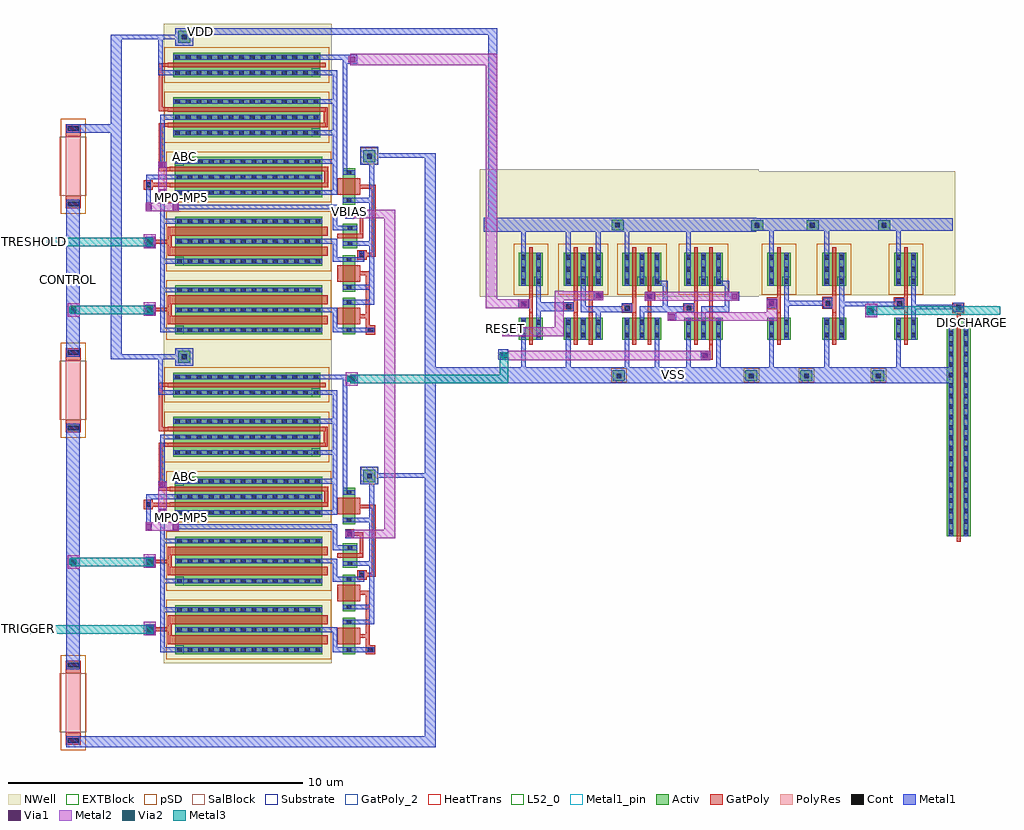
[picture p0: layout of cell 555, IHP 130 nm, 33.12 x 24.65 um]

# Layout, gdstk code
from math import pi, radians
import gdstk
lib = gdstk.Library(unit=1e-6, precision=1e-09)
def R(c, l, rs):  # rectangles x0, y0, x1, y1
    for r in rs: c.add(gdstk.rectangle(r[:2], r[2:], *l))
def A(c, l, x, y, w, h, nx, ny, dx, dy):  # array of equal rectangles
    R(c, l, [(x+i*dx, y+j*dy, x+i*dx+w, y+j*dy+h) for i in range(nx) for j in range(ny)])
def P(c, l, *ps):  # polygons
    for p in ps: c.add(gdstk.Polygon(p, *l))
Activ = (1, 0)
GatPoly = (5, 0)
GatPoly_2 = (5, 2)
Cont = (6, 0)
Metal1 = (8, 0)
Metal1_pin = (8, 2)
Metal2 = (10, 0)
pSD = (14, 0)
Via1 = (19, 0)
SalBlock = (28, 0)
Via2 = (29, 0)
Metal3 = (30, 0)
NWell = (31, 0)
Substrate = (40, 0)
HeatTrans = (51, 0)
L52_0 = (52, 0)
EXTBlock = (111, 0)
PolyRes = (128, 0)

nmos = lib.new_cell('nmos')
R(nmos, Activ, [(0,0,0.3,0.3), (0,0,0.81,0.74), (0.51,0,0.81,0.3)])
R(nmos, GatPoly, [(0.34,-0.18,0.47,0.92)])
R(nmos, GatPoly_2, [(0.34,-0.18,0.47,0.92)])
R(nmos, Cont, [(0.07,0.07,0.23,0.23), (0.58,0.07,0.74,0.23), (0.07,0.51,0.23,0.67), (0.58,0.51,0.74,0.67)])
R(nmos, Metal1, [(0.07,0,0.23,0.74), (0.58,0,0.74,0.74)])
R(nmos, Metal1_pin, [(0.07,0,0.23,0.74), (0.58,0,0.74,0.74)])
R(nmos, HeatTrans, [(0.34,-0.18,0.47,0.92)])
nmos.add(gdstk.Label('nmos', (0.405,0.37), layer=63, texttype=0))
nmos.add(gdstk.Label('nmos', (0.405,0.37), layer=51, texttype=0))

pmos = lib.new_cell('pmos')
R(pmos, Activ, [(0,0,0.3,0.3), (0,0,0.81,1.12), (0.51,0,0.81,0.3)])
R(pmos, GatPoly, [(0.34,-0.18,0.47,1.3), (0.34,-0.18,0.47,1.3)])
A(pmos, Cont, 0.07, 0.07, 0.16, 0.16, 1, 3, 0, 0.41)
A(pmos, Cont, 0.58, 0.07, 0.16, 0.16, 1, 3, 0, 0.41)
R(pmos, Metal1, [(0.07,0,0.23,1.12), (0.07,0,0.23,1.12), (0.58,0,0.74,1.12), (0.58,0,0.74,1.12)])
R(pmos, pSD, [(-0.18,-0.3,0.99,1.42)])
R(pmos, NWell, [(-0.31,-0.31,1.12,1.43)])
R(pmos, Substrate, [(0.51,0,0.81,0.3)])
R(pmos, HeatTrans, [(0.34,-0.18,0.47,1.3)])
pmos.add(gdstk.Label('pmos', (0.405,0.56), layer=63, texttype=0))
pmos.add(gdstk.Label('pmos', (0.405,0.56), layer=51, texttype=0))

via_stack = lib.new_cell('via_stack')
R(via_stack, Metal1, [(-0.145,-0.105,0.145,0.105)])
R(via_stack, Metal2, [(-0.145,-0.1,0.145,0.1)])
R(via_stack, Via1, [(-0.095,-0.095,0.095,0.095)])

pmos_1 = lib.new_cell('pmos$1')
R(pmos_1, Activ, [(0,0,0.3,0.3), (0,0,0.83,5), (0.53,0,0.83,0.3)])
R(pmos_1, GatPoly, [(0.34,-0.18,0.49,5.18), (0.34,-0.18,0.49,5.18)])
A(pmos_1, Cont, 0.07, 0.07, 0.16, 0.16, 1, 4, 0, 0.36)
A(pmos_1, Cont, 0.6, 0.07, 0.16, 0.16, 1, 4, 0, 0.36)
A(pmos_1, Cont, 0.07, 1.515, 0.16, 0.16, 1, 3, 0, 0.36)
A(pmos_1, Cont, 0.6, 1.515, 0.16, 0.16, 1, 3, 0, 0.36)
A(pmos_1, Cont, 0.07, 2.6, 0.16, 0.16, 1, 3, 0, 0.36)
A(pmos_1, Cont, 0.6, 2.6, 0.16, 0.16, 1, 3, 0, 0.36)
A(pmos_1, Cont, 0.07, 3.685, 0.16, 0.16, 1, 3, 0, 0.36)
A(pmos_1, Cont, 0.6, 3.685, 0.16, 0.16, 1, 3, 0, 0.36)
R(pmos_1, Cont, [(0.07,4.77,0.23,4.93), (0.6,4.77,0.76,4.93)])
R(pmos_1, Metal1, [(0.07,0,0.23,5), (0.07,0,0.23,5), (0.6,0,0.76,5), (0.6,0,0.76,5)])
R(pmos_1, pSD, [(-0.18,-0.3,1.01,5.3)])
R(pmos_1, NWell, [(-0.31,-0.31,1.14,5.31)])
R(pmos_1, Substrate, [(0.53,0,0.83,0.3)])
R(pmos_1, HeatTrans, [(0.34,-0.18,0.49,5.18)])
pmos_1.add(gdstk.Label('pmos', (0.415,2.5), layer=63, texttype=0))
pmos_1.add(gdstk.Label('pmos', (0.415,2.5), layer=51, texttype=0))

pmos_2 = lib.new_cell('pmos$2')
A(pmos_2, Activ, 0, 0, 0.3, 0.3, 3, 1, 0.53, 0)
R(pmos_2, Activ, [(0,0,1.36,5)])
R(pmos_2, GatPoly, [(0.34,-0.18,0.49,5.18), (0.34,-0.18,0.49,5.18), (0.87,-0.18,1.02,5.18)])
A(pmos_2, Cont, 0.07, 0.07, 0.16, 0.16, 3, 4, 0.53, 0.36)
A(pmos_2, Cont, 0.07, 1.515, 0.16, 0.16, 3, 3, 0.53, 0.36)
A(pmos_2, Cont, 0.07, 2.6, 0.16, 0.16, 3, 3, 0.53, 0.36)
A(pmos_2, Cont, 0.07, 3.685, 0.16, 0.16, 3, 3, 0.53, 0.36)
A(pmos_2, Cont, 0.07, 4.77, 0.16, 0.16, 3, 1, 0.53, 0)
R(pmos_2, Metal1, [(0.07,0,0.23,5), (0.07,0,0.23,5), (0.6,0,0.76,5), (0.6,0,0.76,5), (1.13,0,1.29,5)])
R(pmos_2, pSD, [(-0.18,-0.3,1.54,5.3)])
R(pmos_2, NWell, [(-0.31,-0.31,1.67,5.31)])
R(pmos_2, Substrate, [(1.06,0,1.36,0.3)])
R(pmos_2, HeatTrans, [(0.34,-0.18,0.49,5.18), (0.87,-0.18,1.02,5.18)])
pmos_2.add(gdstk.Label('pmos', (0.415,2.5), layer=63, texttype=0))
pmos_2.add(gdstk.Label('pmos', (0.415,2.5), layer=51, texttype=0))
pmos_2.add(gdstk.Label('pmos', (0.945,2.5), layer=51, texttype=0))

pmos_3 = lib.new_cell('pmos$3')
A(pmos_3, Activ, 0, 0, 0.3, 0.3, 3, 1, 0.68, 0)
R(pmos_3, Activ, [(0,0,1.66,5)])
R(pmos_3, GatPoly, [(0.34,-0.18,0.64,5.18), (0.34,-0.18,0.64,5.18), (1.02,-0.18,1.32,5.18)])
A(pmos_3, Cont, 0.07, 0.07, 0.16, 0.16, 3, 4, 0.68, 0.36)
A(pmos_3, Cont, 0.07, 1.515, 0.16, 0.16, 3, 3, 0.68, 0.36)
A(pmos_3, Cont, 0.07, 2.6, 0.16, 0.16, 3, 3, 0.68, 0.36)
A(pmos_3, Cont, 0.07, 3.685, 0.16, 0.16, 3, 3, 0.68, 0.36)
A(pmos_3, Cont, 0.07, 4.77, 0.16, 0.16, 3, 1, 0.68, 0)
R(pmos_3, Metal1, [(0.07,0,0.23,5), (0.07,0,0.23,5), (0.75,0,0.91,5), (0.75,0,0.91,5), (1.43,0,1.59,5)])
R(pmos_3, pSD, [(-0.18,-0.3,1.84,5.3)])
R(pmos_3, NWell, [(-0.31,-0.31,1.97,5.31)])
R(pmos_3, Substrate, [(1.36,0,1.66,0.3)])
R(pmos_3, HeatTrans, [(0.34,-0.18,0.64,5.18), (1.02,-0.18,1.32,5.18)])
pmos_3.add(gdstk.Label('pmos', (0.49,2.5), layer=63, texttype=0))
pmos_3.add(gdstk.Label('pmos', (0.49,2.5), layer=51, texttype=0))
pmos_3.add(gdstk.Label('pmos', (1.17,2.5), layer=51, texttype=0))

nmos_1 = lib.new_cell('nmos$1')
R(nmos_1, Activ, [(0,0,0.3,0.3), (0,0,1.24,0.42), (0.94,0,1.24,0.3)])
R(nmos_1, GatPoly, [(0.34,-0.18,0.9,0.6)])
R(nmos_1, GatPoly_2, [(0.34,-0.18,0.9,0.6)])
R(nmos_1, Cont, [(0.07,0.13,0.23,0.29), (1.01,0.13,1.17,0.29)])
R(nmos_1, Metal1, [(0.07,0,0.23,0.42), (1.01,0,1.17,0.42)])
R(nmos_1, Metal1_pin, [(0.07,0,0.23,0.42), (1.01,0,1.17,0.42)])
R(nmos_1, HeatTrans, [(0.34,-0.18,0.9,0.6)])
nmos_1.add(gdstk.Label('nmos', (0.62,0.21), layer=63, texttype=0))
nmos_1.add(gdstk.Label('nmos', (0.62,0.21), layer=51, texttype=0))

nmos_2 = lib.new_cell('nmos$2')
R(nmos_2, Activ, [(0,0,0.3,0.3), (0,0,0.83,0.5), (0.53,0,0.83,0.3)])
R(nmos_2, GatPoly, [(0.34,-0.18,0.49,0.68)])
R(nmos_2, GatPoly_2, [(0.34,-0.18,0.49,0.68)])
R(nmos_2, Cont, [(0.07,0.17,0.23,0.33), (0.6,0.17,0.76,0.33)])
R(nmos_2, Metal1, [(0.07,0,0.23,0.5), (0.6,0,0.76,0.5)])
R(nmos_2, Metal1_pin, [(0.07,0,0.23,0.5), (0.6,0,0.76,0.5)])
R(nmos_2, HeatTrans, [(0.34,-0.18,0.49,0.68)])
nmos_2.add(gdstk.Label('nmos', (0.415,0.25), layer=63, texttype=0))
nmos_2.add(gdstk.Label('nmos', (0.415,0.25), layer=51, texttype=0))

via_stack_1 = lib.new_cell('via_stack$1')
R(via_stack_1, Metal1, [(-0.145,-0.105,0.145,0.105)])
R(via_stack_1, Metal2, [(-0.145,-0.1,0.145,0.1)])
R(via_stack_1, Via1, [(-0.095,-0.095,0.095,0.095)])
R(via_stack_1, Via2, [(-0.095,-0.095,0.095,0.095)])
R(via_stack_1, Metal3, [(-0.145,-0.1,0.145,0.1)])

via_stack_2 = lib.new_cell('via_stack$2')
R(via_stack_2, Metal2, [(-0.145,-0.1,0.145,0.1)])
R(via_stack_2, Via2, [(-0.095,-0.095,0.095,0.095)])
R(via_stack_2, Metal3, [(-0.145,-0.1,0.145,0.1)])

nmos_3 = lib.new_cell('nmos$3')
R(nmos_3, Activ, [(0,0,0.3,0.3), (0,0,0.81,7.4), (0.51,0,0.81,0.3)])
R(nmos_3, GatPoly, [(0.34,-0.18,0.47,7.58)])
R(nmos_3, GatPoly_2, [(0.34,-0.18,0.47,7.58)])
A(nmos_3, Cont, 0.07, 0.07, 0.16, 0.16, 1, 21, 0, 0.355)
A(nmos_3, Cont, 0.58, 0.07, 0.16, 0.16, 1, 21, 0, 0.355)
R(nmos_3, Metal1, [(0.07,0,0.23,7.4), (0.58,0,0.74,7.4)])
R(nmos_3, Metal1_pin, [(0.07,0,0.23,7.4), (0.58,0,0.74,7.4)])
R(nmos_3, HeatTrans, [(0.34,-0.18,0.47,7.58)])
nmos_3.add(gdstk.Label('nmos', (0.405,3.7), layer=63, texttype=0))
nmos_3.add(gdstk.Label('nmos', (0.405,3.7), layer=51, texttype=0))

rppd = lib.new_cell('rppd')
R(rppd, GatPoly, [(0,-0.43,0.5,-0.2), (0,-0.2,0.5,0), (0,2,0.5,2.2), (0,2.2,0.5,2.43)])
R(rppd, Cont, [(0.07,-0.36,0.43,-0.2), (0.07,2.2,0.43,2.36)])
R(rppd, Metal1, [(0.02,-0.43,0.48,-0.13), (0.02,2.13,0.48,2.43)])
R(rppd, Metal1_pin, [(0.02,-0.43,0.48,-0.13), (0.02,2.13,0.48,2.43)])
R(rppd, pSD, [(-0.18,-0.61,0.68,0), (-0.18,0,0.68,2), (-0.18,2,0.68,2.61)])
R(rppd, SalBlock, [(-0.2,0,0.7,2)])
R(rppd, L52_0, [(0,0,0.5,2)])
R(rppd, EXTBlock, [(-0.18,-0.61,0.68,0), (-0.2,0,0.7,2), (-0.18,2,0.68,2.61)])
R(rppd, PolyRes, [(0,0,0.5,2)])
rppd.add(gdstk.Label('rppd r=1167.668', (0.25,1), layer=63, texttype=0))
rppd.add(gdstk.Label('rppd', (0.25,1), layer=52, texttype=0))

c_555 = lib.new_cell('555')
R(c_555, Activ, [(-34.95,-3.345,-34.54,-2.935), (-26.49,0.085,-26.08,0.45), (-22,0.085,-21.59,0.45), (-20.125,0.085,-19.715,0.45), (-17.69,0.085,-17.28,0.45), (-41.23,0.705,-40.82,1.115), (-21.79,5.175,-21.38,5.54), (-19.915,5.175,-19.505,5.54), (-17.48,5.175,-17.07,5.54), (-26.52,5.19,-26.11,5.555), (-34.95,7.505,-34.54,7.915), (-41.23,11.555,-40.82,11.965)])
R(c_555, GatPoly, [(-42.34,-8.52,-42.015,-8.175), (-42.015,-8.4,-42,-8.27), (-42.34,-6.23,-42.015,-5.885), (-42.015,-6.11,-42,-5.98), (-42.41,-4.27,-42.09,-3.95), (-36.275,-4.185,-36.145,-3.505), (-27.81,2.305,-27.68,3.21), (-42.345,2.325,-42.02,2.67), (-29.33,2.38,-29.2,3.285), (-27.3,2.38,-27.17,3.285), (-25.82,2.38,-25.69,3.285), (-25.82,2.38,-25.69,3.285), (-25.31,2.38,-25.18,3.285), (-25.31,2.38,-25.18,3.285), (-23.73,2.38,-23.6,3.285), (-23.73,2.38,-23.6,3.285), (-20.915,2.38,-20.785,3.285), (-19.04,2.38,-18.91,3.285), (-16.605,2.38,-16.475,3.285), (-14.965,2.39,-14.56,2.735), (-26.18,2.405,-25.82,2.71), (-26.18,2.405,-25.82,2.71), (-24.09,2.415,-23.73,2.72), (-24.09,2.415,-23.73,2.72), (-24.085,2.415,-23.725,2.72), (-42.02,2.445,-42.005,2.575), (-28.17,2.45,-27.81,2.755), (-28.17,2.45,-27.81,2.755), (-16.95,2.515,-16.605,2.92), (-21.26,2.525,-20.915,2.93), (-19.385,2.53,-19.04,2.935), (-29.69,2.55,-29.33,2.855), (-29.69,2.55,-29.33,2.855), (-21.26,2.565,-20.915,2.87), (-20.915,2.565,-20.895,2.87), (-25.405,2.8,-25.06,3.105), (-25.06,2.8,-25.04,3.105), (-27.17,2.83,-27.15,3.135), (-27.15,2.83,-26.805,3.135), (-42.345,4.625,-42.02,4.97), (-42.02,4.745,-42.005,4.875), (-42.41,6.58,-42.09,6.9), (-36.275,6.665,-36.145,7.345)])
P(c_555, GatPoly, [(-23.51,0.8),(-23.51,1.105),(-23.22,1.105),(-23.22,4.615),(-23.09,4.615),(-23.09,0.8)],
  [(-41.58,4.335),(-41.58,4.745),(-42.02,4.745),(-42.02,4.645),(-42.34,4.645),(-42.34,4.965),(-42.02,4.965),(-42.02,4.875),(-41.58,4.875),(-41.58,5.315),(-41.45,5.315),(-41.45,4.335)],
  [(-41.58,2.005),(-41.58,2.445),(-42.02,2.445),(-42.02,2.345),(-42.34,2.345),(-42.34,2.665),(-42.02,2.665),(-42.02,2.575),(-41.58,2.575),(-41.58,2.985),(-41.45,2.985),(-41.45,2.005)],
  [(-35.16,4.195),(-35.16,4.515),(-34.84,4.515),(-34.84,4.43),(-34.66,4.43),(-34.66,6.61),(-35.135,6.61),(-35.135,6.74),(-34.53,6.74),(-34.53,4.3),(-34.84,4.3),(-34.84,4.195)],
  [(-41.895,7.205),(-41.895,8.835),(-41.355,8.835),(-41.355,8.705),(-41.765,8.705),(-41.765,7.335),(-41.235,7.335),(-41.235,7.205)],
  [(-41.895,9.235),(-41.895,10.87),(-41.515,10.87),(-41.515,10.74),(-41.765,10.74),(-41.765,9.365),(-41.55,9.365),(-41.55,9.235)],
  [(-35.08,4.935),(-35.08,5.675),(-35.26,5.675),(-35.26,5.59),(-35.57,5.59),(-35.57,5.9),(-35.26,5.9),(-35.26,5.805),(-34.95,5.805),(-34.95,4.935)],
  [(-34.87,1.655),(-34.87,2.215),(-35.1,2.215),(-35.1,2.345),(-34.87,2.345),(-34.87,3.68),(-35.12,3.68),(-35.12,3.81),(-34.74,3.81),(-34.74,1.975),(-34.55,1.975),(-34.55,1.655)],
  [(-41.58,-6.515),(-41.58,-6.105),(-42.02,-6.105),(-42.02,-6.205),(-42.34,-6.205),(-42.34,-5.885),(-42.02,-5.885),(-42.02,-5.975),(-41.58,-5.975),(-41.58,-5.535),(-41.45,-5.535),(-41.45,-6.515)],
  [(-41.58,-8.845),(-41.58,-8.405),(-42.02,-8.405),(-42.02,-8.505),(-42.34,-8.505),(-42.34,-8.185),(-42.02,-8.185),(-42.02,-8.275),(-41.58,-8.275),(-41.58,-7.865),(-41.45,-7.865),(-41.45,-8.845)],
  [(-35.16,-6.655),(-35.16,-6.335),(-34.84,-6.335),(-34.84,-6.42),(-34.66,-6.42),(-34.66,-4.24),(-35.135,-4.24),(-35.135,-4.11),(-34.53,-4.11),(-34.53,-6.55),(-34.84,-6.55),(-34.84,-6.655)],
  [(-41.895,-3.645),(-41.895,-2.015),(-41.355,-2.015),(-41.355,-2.145),(-41.765,-2.145),(-41.765,-3.515),(-41.235,-3.515),(-41.235,-3.645)],
  [(-41.895,-1.615),(-41.895,0.02),(-41.515,0.02),(-41.515,-0.11),(-41.765,-0.11),(-41.765,-1.485),(-41.55,-1.485),(-41.55,-1.615)],
  [(-35.08,-5.915),(-35.08,-5.175),(-35.26,-5.175),(-35.26,-5.26),(-35.57,-5.26),(-35.57,-4.95),(-35.26,-4.95),(-35.26,-5.045),(-34.95,-5.045),(-34.95,-5.915)],
  [(-34.87,-9.195),(-34.87,-8.635),(-35.1,-8.635),(-35.1,-8.505),(-34.87,-8.505),(-34.87,-7.17),(-35.12,-7.17),(-35.12,-7.04),(-34.74,-7.04),(-34.74,-8.875),(-34.55,-8.875),(-34.55,-9.195)])
R(c_555, Cont, [(-34.795,-9.115,-34.635,-8.955), (-42.27,-8.425,-42.11,-8.265), (-42.27,-8.425,-42.11,-8.265), (-42.27,-8.425,-42.11,-8.265), (-42.27,-8.425,-42.11,-8.265), (-35.085,-6.575,-34.925,-6.415), (-35.085,-6.575,-34.925,-6.415), (-42.27,-6.135,-42.11,-5.975), (-42.27,-6.135,-42.11,-5.975), (-42.27,-6.135,-42.11,-5.975), (-42.27,-6.135,-42.11,-5.975), (-35.495,-5.19,-35.335,-5.03), (-35.495,-5.19,-35.335,-5.03), (-35.495,-5.19,-35.335,-5.03), (-35.495,-5.19,-35.335,-5.03), (-42.325,-4.19,-42.165,-4.03), (-34.825,-3.22,-34.665,-3.06), (-26.36,0.175,-26.2,0.335), (-21.87,0.175,-21.71,0.335), (-19.995,0.175,-19.835,0.335), (-17.56,0.175,-17.4,0.335), (-41.105,0.83,-40.945,0.99), (-23.43,0.87,-23.27,1.03), (-34.795,1.735,-34.635,1.895), (-42.275,2.42,-42.115,2.58), (-42.275,2.42,-42.115,2.58), (-42.275,2.42,-42.115,2.58), (-42.275,2.42,-42.115,2.58), (-26.075,2.475,-25.915,2.635), (-23.985,2.485,-23.825,2.645), (-14.83,2.505,-14.67,2.665), (-14.83,2.505,-14.67,2.665), (-28.065,2.52,-27.905,2.68), (-29.585,2.62,-29.425,2.78), (-16.835,2.625,-16.675,2.785), (-16.835,2.625,-16.675,2.785), (-21.18,2.635,-21.02,2.795), (-19.27,2.64,-19.11,2.8), (-19.27,2.64,-19.11,2.8), (-25.325,2.87,-25.165,3.03), (-27.045,2.905,-26.885,3.065), (-35.085,4.275,-34.925,4.435), (-35.085,4.275,-34.925,4.435), (-42.275,4.72,-42.115,4.88), (-42.275,4.72,-42.115,4.88), (-42.275,4.72,-42.115,4.88), (-42.275,4.72,-42.115,4.88), (-21.675,5.285,-21.515,5.445), (-19.8,5.285,-19.64,5.445), (-17.365,5.285,-17.205,5.445), (-26.405,5.3,-26.245,5.46), (-35.5,5.66,-35.34,5.82), (-35.5,5.66,-35.34,5.82), (-35.5,5.66,-35.34,5.82), (-35.5,5.66,-35.34,5.82), (-42.325,6.66,-42.165,6.82), (-34.825,7.63,-34.665,7.79), (-41.105,11.68,-40.945,11.84)])
R(c_555, Metal1, [(-45.025,-12.34,-32.69,-11.965), (-45.025,-9.42,-44.565,-4.665), (-41.77,-9.115,-41.34,-8.955), (-35.25,-9.115,-34.585,-8.955), (-42.33,-8.515,-42.04,-8.175), (-45.025,-6.43,-44.565,-1.635), (-42.33,-6.225,-42.04,-5.885), (-41.85,-5.38,-41.69,-4.35), (-35.565,-5.26,-35.265,-4.96), (-35.565,-5.26,-35.265,-4.96), (-35.565,-5.26,-35.265,-4.96), (-35.565,-5.26,-35.265,-4.96), (-41.485,-3.925,-41.31,-3.765), (-34.45,-3.205,-32.695,-3.045), (-29.315,0.01,-26.53,0.55), (-27.325,0.01,-24.145,0.55), (-24.815,0.01,-21.635,0.55), (-25.07,0.455,-24.91,1.52), (-22.98,0.455,-22.82,1.52), (-26.09,0.51,-25.93,1.575), (-24,0.51,-23.84,1.575), (-28.08,0.55,-27.92,1.495), (-23.51,0.8,-23.175,1.105), (-30.38,0.805,-30.04,1.155), (-43.525,0.83,-43.14,11.835), (-43.525,0.83,-43.36,0.99), (-43.375,0.83,-41.725,0.99), (-45.025,1.185,-44.565,5.94), (-30.24,1.6,-29.905,1.905), (-30.24,1.6,-29.905,1.905), (-41.77,1.735,-41.34,1.895), (-35.25,1.735,-34.585,1.895), (-14.42,1.98,-14.22,2.14), (-24.62,2.12,-24.33,2.535), (-16.365,2.175,-16.205,3.315), (-17.92,2.24,-17.515,2.7), (-42.335,2.33,-42.045,2.67), (-16.91,2.54,-16.605,2.895), (-29.69,2.55,-29.33,2.855), (-19.345,2.555,-19.04,2.91), (-21.26,2.565,-20.925,2.87), (-25.405,2.8,-25.07,3.105), (-22.535,2.8,-22.2,3.105), (-22.535,2.8,-22.2,3.105), (-27.14,2.83,-26.805,3.135), (-24.91,3.315,-24.75,3.48), (-22.82,3.315,-22.66,3.48), (-42.335,4.63,-42.045,4.97), (-41.85,5.47,-41.69,6.5), (-35.57,5.59,-35.27,5.89), (-35.57,5.59,-35.27,5.89), (-35.57,5.59,-35.27,5.89), (-35.57,5.59,-35.27,5.89), (-41.485,6.925,-41.31,7.085), (-34.45,7.65,-32.695,7.81), (-45.025,8.5,-43.385,8.8), (-35.49,10.845,-35.155,11.15), (-35.49,10.845,-35.155,11.15), (-43.525,11.68,-41.725,11.84)])
P(c_555, Metal1, [(-32.875,-12.34),(-32.875,7.81),(-32.49,7.81),(-32.49,0.55),(-29.6,0.55),(-29.6,1.555),(-29.44,1.555),(-29.44,0.55),(-27.655,0.55),(-27.655,0.01),(-32.49,0.01),(-32.49,-12.34)],
  [(-14.94,2.43),(-14.94,2.51),(-16.21,2.51),(-16.21,2.67),(-14.94,2.67),(-14.94,2.735),(-14.585,2.735),(-14.585,2.43)],
  [(-18.11,0.01),(-18.11,0.55),(-16.875,0.55),(-16.875,1.495),(-16.715,1.495),(-16.715,0.55),(-14.93,0.55),(-14.93,0.01)],
  [(-28.08,4.245),(-28.08,5.145),(-29.44,5.145),(-29.44,4.425),(-29.6,4.425),(-29.6,5.145),(-30.865,5.145),(-30.865,5.615),(-30.705,5.615),(-30.705,11.835),(-40.725,11.835),(-40.725,11.45),(-41.325,11.45),(-41.325,11.68),(-41.755,11.68),(-41.755,10.62),(-41.375,10.62),(-41.375,10.46),(-41.915,10.46),(-41.915,11.84),(-41.325,11.84),(-41.325,12.05),(-30.405,12.05),(-30.405,11.835),(-30.415,11.835),(-30.415,5.615),(-21.62,5.615),(-21.62,5.145),(-23.84,5.145),(-23.84,4.315),(-24,4.315),(-24,5.145),(-25.93,5.145),(-25.93,4.315),(-26.09,4.315),(-26.09,5.145),(-26.9,5.145),(-26.9,4.335),(-27.06,4.335),(-27.06,5.145),(-27.92,5.145),(-27.92,4.245)],
  [(-20.675,2.175),(-20.675,3.315),(-20.515,3.315),(-20.515,2.8),(-19.345,2.8),(-19.345,2.64),(-20.515,2.64),(-20.515,2.175)],
  [(-18.8,2.175),(-18.8,3.315),(-18.64,3.315),(-18.64,2.775),(-16.91,2.775),(-16.91,2.615),(-18.64,2.615),(-18.64,2.175)],
  [(-22.42,0.01),(-22.42,0.55),(-21.185,0.55),(-21.185,1.495),(-21.025,1.495),(-21.025,0.55),(-19.24,0.55),(-19.24,0.01)],
  [(-21.185,4.425),(-21.185,5.175),(-22.445,5.175),(-22.445,5.6),(-19.265,5.6),(-19.265,5.175),(-21.025,5.175),(-21.025,4.425)],
  [(-19.31,4.425),(-19.31,5.175),(-20.57,5.175),(-20.57,5.6),(-17.39,5.6),(-17.39,5.175),(-19.15,5.175),(-19.15,4.425)],
  [(-20.545,0.01),(-20.545,0.55),(-19.31,0.55),(-19.31,1.495),(-19.15,1.495),(-19.15,0.55),(-17.365,0.55),(-17.365,0.01)],
  [(-16.875,4.425),(-16.875,5.175),(-18.135,5.175),(-18.135,5.6),(-14.955,5.6),(-14.955,5.175),(-16.715,5.175),(-16.715,4.425)],
  [(-27.06,1.77),(-27.06,2.41),(-27.57,2.41),(-27.57,3.54),(-27.41,3.54),(-27.41,2.62),(-26.18,2.62),(-26.18,2.715),(-25.82,2.715),(-25.82,2.41),(-26.9,2.41),(-26.9,1.77)],
  [(-29.09,2.175),(-29.09,3.315),(-28.93,3.315),(-28.93,2.755),(-27.815,2.755),(-27.815,2.45),(-28.93,2.45),(-28.93,2.175)],
  [(-25.58,1.5),(-25.58,2.62),(-24.785,2.62),(-24.785,3.48),(-24.625,3.48),(-24.625,2.62),(-24.085,2.62),(-24.085,2.72),(-23.725,2.72),(-23.725,2.62),(-23.72,2.62),(-23.72,2.41),(-25.42,2.41),(-25.42,1.5)],
  [(-23.49,1.5),(-23.49,2.62),(-22.695,2.62),(-22.695,3.48),(-22.535,3.48),(-22.535,2.41),(-23.33,2.41),(-23.33,1.5)],
  [(-35.65,7.105),(-35.65,10.99),(-36.585,10.99),(-36.585,11.15),(-35.49,11.15),(-35.49,7.105)],
  [(-35.255,2.675),(-35.255,2.835),(-34.745,2.835),(-34.745,3.185),(-35.25,3.185),(-35.25,3.345),(-34.745,3.345),(-34.745,4.665),(-35.21,4.665),(-35.21,4.825),(-34.745,4.825),(-34.745,6.135),(-35.295,6.135),(-35.295,6.295),(-34.745,6.295),(-34.745,7.425),(-35.05,7.425),(-35.05,8.025),(-34.45,8.025),(-34.45,7.425),(-34.585,7.425),(-34.585,2.675)],
  [(-35.255,4.125),(-35.255,4.285),(-35.085,4.285),(-35.085,4.485),(-34.925,4.485),(-34.925,4.125)],
  [(-35.99,5.195),(-35.99,5.91),(-41.325,5.91),(-41.325,6.07),(-35.83,6.07),(-35.83,5.355),(-35.58,5.355),(-35.58,5.195)],
  [(-36.355,6.395),(-36.355,6.555),(-35.995,6.555),(-35.995,7.455),(-36.355,7.455),(-36.355,7.615),(-35.995,7.615),(-35.995,8.425),(-36.415,8.425),(-36.415,8.585),(-35.995,8.585),(-35.995,9.485),(-36.42,9.485),(-36.42,9.645),(-35.995,9.645),(-35.995,10.46),(-36.455,10.46),(-36.455,10.62),(-35.835,10.62),(-35.835,6.395)],
  [(-41.845,7.325),(-41.845,9.115),(-41.395,9.115),(-41.395,8.955),(-41.685,8.955),(-41.685,7.325)],
  [(-41.85,3.255),(-41.85,5.585),(-41.31,5.585),(-41.31,5.425),(-41.69,5.425),(-41.69,4.225),(-41.34,4.225),(-41.34,4.065),(-41.69,4.065),(-41.69,3.255)],
  [(-35.99,1.735),(-35.99,2.415),(-36.36,2.415),(-36.36,2.575),(-35.83,2.575),(-35.83,1.895),(-35.34,1.895),(-35.34,1.735)],
  [(-35.99,4.125),(-35.99,4.745),(-36.495,4.745),(-36.495,4.905),(-35.83,4.905),(-35.83,4.285),(-35.435,4.285),(-35.435,4.125)],
  [(-42.325,5.9),(-42.325,7.085),(-41.455,7.085),(-41.455,6.925),(-42.165,6.925),(-42.165,5.9)],
  [(-41.85,1.735),(-41.85,3.255),(-41.31,3.255),(-41.31,3.095),(-41.69,3.095),(-41.69,1.735)],
  [(-41.915,-0.39),(-41.915,0.99),(-41.325,0.99),(-41.325,1.2),(-40.725,1.2),(-40.725,0.6),(-41.325,0.6),(-41.325,0.83),(-41.755,0.83),(-41.755,-0.23),(-41.375,-0.23),(-41.375,-0.39)],
  [(-35.255,-8.175),(-35.255,-8.015),(-34.745,-8.015),(-34.745,-7.665),(-35.25,-7.665),(-35.25,-7.505),(-34.745,-7.505),(-34.745,-6.185),(-35.21,-6.185),(-35.21,-6.025),(-34.745,-6.025),(-34.745,-4.715),(-35.295,-4.715),(-35.295,-4.555),(-34.745,-4.555),(-34.745,-3.425),(-35.05,-3.425),(-35.05,-2.825),(-34.45,-2.825),(-34.45,-3.425),(-34.585,-3.425),(-34.585,-8.175)],
  [(-35.255,-6.725),(-35.255,-6.565),(-35.085,-6.565),(-35.085,-6.365),(-34.925,-6.365),(-34.925,-6.725)],
  [(-35.99,-5.655),(-35.99,-4.94),(-41.325,-4.94),(-41.325,-4.78),(-35.83,-4.78),(-35.83,-5.495),(-35.58,-5.495),(-35.58,-5.655)],
  [(-35.65,-3.745),(-35.65,0.14),(-36.585,0.14),(-36.585,0.3),(-35.49,0.3),(-35.49,-3.745)],
  [(-36.355,-4.455),(-36.355,-4.295),(-35.995,-4.295),(-35.995,-3.395),(-36.355,-3.395),(-36.355,-3.235),(-35.995,-3.235),(-35.995,-2.425),(-36.415,-2.425),(-36.415,-2.265),(-35.995,-2.265),(-35.995,-1.365),(-36.42,-1.365),(-36.42,-1.205),(-35.995,-1.205),(-35.995,-0.39),(-36.455,-0.39),(-36.455,-0.23),(-35.835,-0.23),(-35.835,-4.455)],
  [(-41.845,-3.525),(-41.845,-1.735),(-41.395,-1.735),(-41.395,-1.895),(-41.685,-1.895),(-41.685,-3.525)],
  [(-41.85,-7.595),(-41.85,-5.265),(-41.31,-5.265),(-41.31,-5.425),(-41.69,-5.425),(-41.69,-6.625),(-41.34,-6.625),(-41.34,-6.785),(-41.69,-6.785),(-41.69,-7.595)],
  [(-35.99,-9.115),(-35.99,-8.435),(-36.36,-8.435),(-36.36,-8.275),(-35.83,-8.275),(-35.83,-8.955),(-35.34,-8.955),(-35.34,-9.115)],
  [(-35.99,-6.725),(-35.99,-6.105),(-36.495,-6.105),(-36.495,-5.945),(-35.83,-5.945),(-35.83,-6.565),(-35.435,-6.565),(-35.435,-6.725)],
  [(-42.325,-4.95),(-42.325,-3.765),(-41.455,-3.765),(-41.455,-3.925),(-42.165,-3.925),(-42.165,-4.95)],
  [(-41.85,-9.115),(-41.85,-7.595),(-41.31,-7.595),(-41.31,-7.755),(-41.69,-7.755),(-41.69,-9.115)],
  [(-43.965,4.895),(-43.965,4.895),(-43.965,4.895),(-43.965,4.895)],
  [(-43.96,-8.25),(-43.96,-8.25),(-43.96,-8.25),(-43.96,-8.25)])
R(c_555, Metal2, [(-42.395,-8.55,-41.99,-8.09), (-44.98,-6.29,-44.575,-5.83), (-42.395,-6.26,-41.99,-5.8), (-42.34,-5.005,-41.4,-4.715), (-41.91,-4.31,-41.62,-3.56), (-41.91,-3.56,-41.89,-3.51), (-41.905,-3.56,-41.62,-3.51), (-35.54,-0.08,-35.135,0.38), (-30.04,0.79,-23.175,1.105), (-17.92,2.24,-17.515,2.7), (-44.985,2.265,-44.58,2.725), (-42.4,2.295,-41.995,2.755), (-25.405,2.8,-22.225,3.105), (-28.46,2.83,-26.805,3.135), (-42.4,4.595,-41.995,5.055), (-42.185,5.845,-41.375,6.135), (-41.91,6.54,-41.62,7.29), (-41.91,7.245,-41.62,7.525), (-35.395,10.805,-32.54,11.185)])
P(c_555, Metal2, [(-24.62,2.12),(-24.62,2.41),(-21.26,2.41),(-21.26,2.855),(-20.915,2.855),(-20.915,2.12)],
  [(-30.795,2.56),(-30.795,10.805),(-32.905,10.805),(-32.905,11.185),(-30.415,11.185),(-30.415,2.85),(-29.355,2.85),(-29.355,2.56)],
  [(-30.24,1.6),(-30.24,1.905),(-28.46,1.905),(-28.46,3.145),(-28.155,3.145),(-28.155,1.6)],
  [(-35.36,-5.255),(-35.36,-4.96),(-34.245,-4.96),(-34.245,5.6),(-35.305,5.6),(-35.305,5.89),(-33.865,5.89),(-33.865,-5.255)])
R(c_555, pSD, [(-35.035,-3.42,-34.465,-2.85), (-26.54,0.035,-26.01,0.51), (-22.05,0.035,-21.52,0.51), (-20.175,0.035,-19.645,0.51), (-17.74,0.035,-17.21,0.51), (-35.035,7.43,-34.465,8)])
R(c_555, Metal3, [(-46.46,-8.49,-42.275,-8.2), (-17.87,2.33,-13.35,2.62), (-46.465,4.655,-42.28,4.945)])
P(c_555, Metal3, [(-44.64,-6.2),(-44.64,-6.195),(-44.885,-6.195),(-44.885,-5.91),(-42.275,-5.91),(-42.275,-6.2)],
  [(-35.39,0.01),(-35.39,0.3),(-30.33,0.3),(-30.33,1.055),(-30.04,1.055),(-30.04,0.01)],
  [(-44.645,2.355),(-44.645,2.36),(-44.89,2.36),(-44.89,2.645),(-42.28,2.645),(-42.28,2.355)])
R(c_555, NWell, [(-41.715,-9.495,-36.03,1.355), (-41.715,1.355,-36.03,12.205), (-30.995,2.935,-21.535,7.27), (-22.55,2.99,-19.18,7.195), (-20.675,2.99,-17.305,7.195), (-18.24,2.99,-14.87,7.195)])
c_555.add(gdstk.FlexPath([(-36.225,8.695),(-36.225,9.375)], 0.13, ends="flush", simple_path=True, layer=5, datatype=0))  # GatPoly
c_555.add(gdstk.FlexPath([(-41.495,6.74),(-42.265,6.74)], 0.13, ends="flush", simple_path=True, layer=5, datatype=0))  # GatPoly
c_555.add(gdstk.FlexPath([(-36.225,-2.155),(-36.225,-1.475)], 0.13, ends="flush", simple_path=True, layer=5, datatype=0))  # GatPoly
c_555.add(gdstk.FlexPath([(-41.495,-4.11),(-42.265,-4.11)], 0.13, ends="flush", simple_path=True, layer=5, datatype=0))  # GatPoly
c_555.add(gdstk.Reference(nmos, (-25.65,1.49)))
c_555.add(gdstk.Reference(pmos, (-25.65,3.315)))
c_555.add(gdstk.Reference(pmos, (-26.16,3.315)))
c_555.add(gdstk.Reference(nmos, (-26.16,1.49)))
c_555.add(gdstk.Reference(pmos, (-29.67,3.315)))
c_555.add(gdstk.Reference(nmos, (-29.67,1.49)))
c_555.add(gdstk.Reference(nmos, (-28.15,1.49)))
c_555.add(gdstk.Reference(nmos, (-27.64,1.49)))
c_555.add(gdstk.Reference(nmos, (-24.07,1.49)))
c_555.add(gdstk.Reference(pmos, (-24.07,3.315)))
c_555.add(gdstk.Reference(pmos, (-23.56,3.315)))
c_555.add(gdstk.Reference(nmos, (-23.56,1.49)))
c_555.add(gdstk.Reference(via_stack, (-25.245,2.955)))
c_555.add(gdstk.Reference(via_stack, (-22.36,2.95)))
c_555.add(gdstk.Reference(via_stack, (-22.36,2.95)))
c_555.add(gdstk.Reference(via_stack, (-23.35,0.955)))
c_555.add(gdstk.Reference(via_stack, (-26.965,2.98), rotation=pi))
c_555.add(gdstk.Reference(via_stack, (-30.065,1.75)))
c_555.add(gdstk.Reference(via_stack, (-30.065,1.75)))
c_555.add(gdstk.Reference(via_stack, (-21.1,2.72)))
c_555.add(gdstk.Reference(pmos_1, (-36.405,11.22), rotation=3*pi/2, x_reflection=True))
c_555.add(gdstk.Reference(pmos_2, (-36.405,9.715), rotation=3*pi/2, x_reflection=True))
c_555.add(gdstk.Reference(pmos_3, (-41.34,3.325), rotation=3*pi/2))
c_555.add(gdstk.Reference(pmos_2, (-41.345,6.325), rotation=pi/2, x_reflection=True))
c_555.add(gdstk.Reference(pmos_3, (-41.34,5.655), rotation=3*pi/2))
c_555.add(gdstk.Reference(via_stack, (-41.765,6.49), rotation=pi))
c_555.add(gdstk.Reference(via_stack, (-41.765,7.42), rotation=pi))
c_555.add(gdstk.Reference(via_stack, (-41.32,5.99), rotation=3*pi/2))
c_555.add(gdstk.Reference(via_stack, (-42.235,5.99), rotation=3*pi/2))
c_555.add(gdstk.Reference(nmos_1, (-35.23,3.115), rotation=pi/2))
c_555.add(gdstk.Reference(nmos_1, (-35.23,1.665), rotation=pi/2))
c_555.add(gdstk.Reference(nmos_1, (-35.23,6.065), rotation=pi/2))
c_555.add(gdstk.Reference(nmos_2, (-35.15,4.595), rotation=pi/2))
c_555.add(gdstk.Reference(pmos_1, (-36.405,0.37), rotation=3*pi/2, x_reflection=True))
c_555.add(gdstk.Reference(pmos_2, (-36.405,-1.135), rotation=3*pi/2, x_reflection=True))
c_555.add(gdstk.Reference(pmos_3, (-41.34,-7.525), rotation=3*pi/2))
c_555.add(gdstk.Reference(pmos_2, (-41.345,-4.525), rotation=pi/2, x_reflection=True))
c_555.add(gdstk.Reference(pmos_3, (-41.34,-5.195), rotation=3*pi/2))
c_555.add(gdstk.Reference(via_stack, (-41.765,-4.36), rotation=pi))
c_555.add(gdstk.Reference(via_stack, (-41.765,-3.43), rotation=pi))
c_555.add(gdstk.Reference(via_stack, (-41.32,-4.86), rotation=3*pi/2))
c_555.add(gdstk.Reference(via_stack, (-42.235,-4.86), rotation=3*pi/2))
c_555.add(gdstk.Reference(nmos_1, (-35.23,-7.735), rotation=pi/2))
c_555.add(gdstk.Reference(nmos_1, (-35.23,-9.185), rotation=pi/2))
c_555.add(gdstk.Reference(nmos_1, (-35.23,-4.785), rotation=pi/2))
c_555.add(gdstk.Reference(nmos_2, (-35.15,-6.255), rotation=pi/2))
c_555.add(gdstk.Reference(via_stack, (-24.475,2.265)))
c_555.add(gdstk.Reference(via_stack, (-29.51,2.7)))
c_555.add(gdstk.Reference(pmos, (-21.255,3.315)))
c_555.add(gdstk.Reference(nmos, (-21.255,1.49)))
c_555.add(gdstk.Reference(nmos, (-19.38,1.49)))
c_555.add(gdstk.Reference(pmos, (-19.38,3.315)))
c_555.add(gdstk.Reference(nmos, (-16.945,1.49)))
c_555.add(gdstk.Reference(pmos, (-16.945,3.315)))
c_555.add(gdstk.Reference(via_stack, (-35.425,5.745)))
c_555.add(gdstk.Reference(via_stack, (-35.425,5.745)))
c_555.add(gdstk.Reference(via_stack, (-35.425,5.745)))
c_555.add(gdstk.Reference(via_stack, (-35.425,5.745)))
c_555.add(gdstk.Reference(via_stack, (-35.42,-5.105)))
c_555.add(gdstk.Reference(via_stack, (-35.42,-5.105)))
c_555.add(gdstk.Reference(via_stack, (-35.42,-5.105)))
c_555.add(gdstk.Reference(via_stack, (-35.42,-5.105)))
c_555.add(gdstk.Reference(via_stack_1, (-42.185,-6.055), rotation=pi/2))
c_555.add(gdstk.Reference(via_stack_1, (-42.185,-6.055), rotation=pi/2))
c_555.add(gdstk.Reference(via_stack_1, (-44.785,-6.055)))
c_555.add(gdstk.Reference(via_stack_1, (-42.19,2.5), rotation=pi/2))
c_555.add(gdstk.Reference(via_stack_1, (-42.19,2.5), rotation=pi/2))
c_555.add(gdstk.Reference(via_stack_1, (-44.79,2.5)))
c_555.add(gdstk.Reference(via_stack_1, (-42.19,4.8), rotation=pi/2))
c_555.add(gdstk.Reference(via_stack_1, (-42.19,4.8), rotation=pi/2))
c_555.add(gdstk.Reference(via_stack_1, (-42.185,-8.345), rotation=pi/2))
c_555.add(gdstk.Reference(via_stack_1, (-42.185,-8.345), rotation=pi/2))
c_555.add(gdstk.Reference(via_stack, (-35.315,10.995)))
c_555.add(gdstk.Reference(via_stack, (-35.315,10.995)))
c_555.add(gdstk.Reference(via_stack_1, (-35.345,0.155)))
c_555.add(gdstk.Reference(via_stack_2, (-30.185,0.95)))
c_555.add(gdstk.Reference(via_stack_1, (-17.725,2.475)))
c_555.add(gdstk.Reference(pmos, (-27.64,3.315)))
c_555.add(gdstk.Reference(pmos, (-28.15,3.315)))
c_555.add(gdstk.Reference(nmos_3, (-15.16,-5.19)))
c_555.add(gdstk.Reference(rppd, (-45.045,-11.835)))
c_555.add(gdstk.Reference(rppd, (-45.045,0.77), x_reflection=True))
c_555.add(gdstk.Reference(rppd, (-45.045,6.37)))
c_555.add(gdstk.Label('MP0-MP5', (-41.13,6.295), layer=63, texttype=0))
c_555.add(gdstk.Label('ABC', (-41.035,7.7), layer=63, texttype=0))
c_555.add(gdstk.Label('MP0-MP5', (-41.13,-4.555), layer=63, texttype=0))
c_555.add(gdstk.Label('ABC', (-41.035,-3.15), layer=63, texttype=0))
c_555.add(gdstk.Label('CONTROL', (-44.965,3.54), layer=8, texttype=2))
c_555.add(gdstk.Label('RESET', (-30.13,1.87), layer=8, texttype=2))
c_555.add(gdstk.Label('DISCHARGE', (-14.27,2.075), layer=8, texttype=2))
c_555.add(gdstk.Label('VDD', (-40.48,11.955), layer=8, texttype=2))
c_555.add(gdstk.Label('VBIAS', (-35.42,5.825), layer=8, texttype=2))
c_555.add(gdstk.Label('VSS', (-24.415,0.3), layer=8, texttype=2))
c_555.add(gdstk.Label('TRIGGER', (-46.365,-8.305), layer=30, texttype=2))
c_555.add(gdstk.Label('TRESHOLD', (-46.305,4.81), layer=30, texttype=2))
c_555.add(gdstk.Label('OUTPUT', (-13.485,2.505), layer=30, texttype=2))

lib.write_gds('555.gds')
